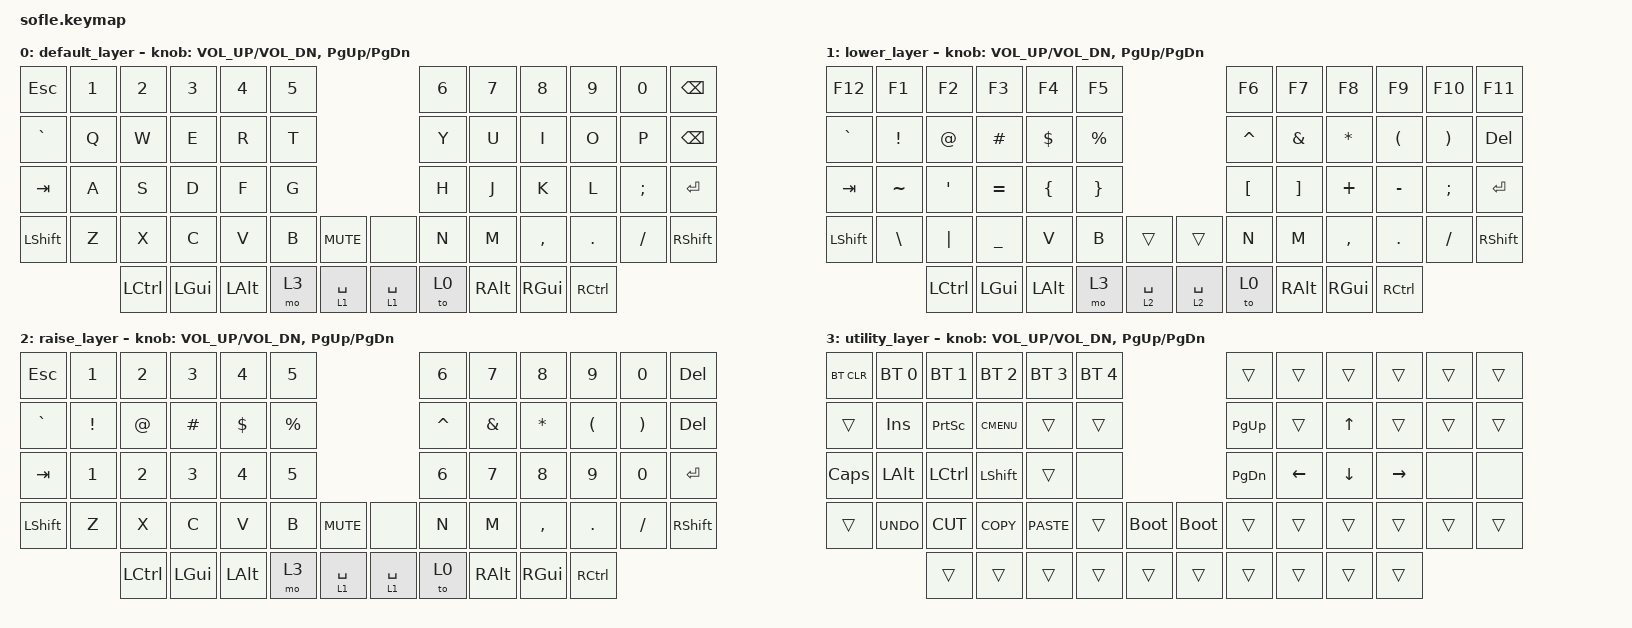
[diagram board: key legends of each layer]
/*
 * Copyright (c) 2020 The ZMK Contributors
 *
 * SPDX-License-Identifier: MIT
 */

#include <behaviors.dtsi>
#include <dt-bindings/zmk/keys.h>
#include <dt-bindings/zmk/bt.h>

&lt {
        tapping-term-ms = <150>;
        retro-tap;
    };

/ {
    chosen {
        zmk,underglow = &led_strip;
    };

    keymap {
        compatible = "zmk,keymap";

        default_layer {
// ------------------------------------------------------------------------------------------------------------
// |  ESC  |  1  |  2  |  3   |  4   |  5   |                   |  6   |  7    |  8    |  9   |   0   | BSPC |
// |   `   |  Q  |  W  |  E   |  R   |  T   |                   |  Y   |  U    |  I    |  O   |   P   | BSPC  |
// |  TAB  |  A  |  S  |  D   |  F   |  G   |                   |  H   |  J    |  K    |  L   |   ;   | ENTER  |
// | SHIFT |  Z  |  X  |  C   |  V   |  B   |  MUTE  |  |       |  N   |  M    |  ,    |  .   |   /   | SHIFT |
//               | CTRL| GUI  | ALT  | LOWER|  LOWER/SPACE |  | SPACE | RAISE| ALT   | GUI   | CTRL |
            bindings = <
&kp ESC     &kp N1   &kp N2     &kp N3     &kp N4      &kp N5                            &kp N6      &kp N7    &kp N8      &kp N9     &kp N0     &kp BSPC
&kp GRAVE   &kp Q    &kp W      &kp E      &kp R       &kp T                             &kp Y       &kp U     &kp I       &kp O      &kp P      &kp BSPC
&kp TAB     &kp A    &kp S      &kp D      &kp F       &kp G                             &kp H       &kp J     &kp K       &kp L      &kp SEMI   &kp RET
&kp LSHFT   &kp Z    &kp X      &kp C      &kp V       &kp B    &kp C_MUTE     &none     &kp N       &kp M     &kp COMMA   &kp DOT    &kp FSLH   &kp RSHFT
                     &kp LCTRL  &kp LGUI   &kp LALT    &mo 3    &lt 1 SPACE    &lt 1 SPACE &to 0     &kp RALT  &kp RGUI    &kp RCTRL
            >;

            sensor-bindings = <&inc_dec_kp C_VOL_UP C_VOL_DN &inc_dec_kp PG_UP PG_DN>;
        };

        lower_layer {
// TODO: Some binds are waiting for shifted keycode support.
// ------------------------------------------------------------------------------------------------------------
// |  F12  |  F1 |  F2 |  F3  |  F4  |  F5  |                   |  F6  |  F7   |  F8   |  F9  |  F10  |  F11  |
// | `     |   ! |   @ |  #   |   $  |   %  |                   |   ^  |  &    |   *   |  (   |   )   |  DEL  |
// |       |  ~  |  '  |  =   |  {   |  }   |                   |  [   |  ]    |   +   |  -   |   -   | ;     |
// |       |  \  |  |  |  _   |  v   |  b   |        |  |       |   n  |  m    |  ,    |  :   |   \   |       |
//               | CTRL| GUI  | ALT  | LOWER|  LOWER/SPACE |  | SPACE | RAISE| ALT   | GUI   | CTRL |
            bindings = <
&kp F12      &kp F1       &kp F2      &kp F3        &kp F4      &kp F5                                   &kp F6    &kp F7    &kp F8          &kp F9      &kp F10   &kp F11
&kp GRAVE    &kp EXCL     &kp AT      &kp HASH      &kp DLLR    &kp PRCNT                                &kp CARET &kp AMPS  &kp STAR        &kp LPAR    &kp RPAR  &kp DEL
&kp TAB      &kp TILDE    &kp SQT     &kp EQUAL     &kp LBRC    &kp RBRC                                 &kp LBKT  &kp RBKT  &kp PLUS        &kp MINUS   &kp SEMI  &kp RET
&kp LSHIFT   &kp BSLH     &kp PIPE    &kp UNDER     &kp V       &kp B       &trans         &trans        &kp N     &kp M     &kp COMMA       &kp DOT     &kp FSLH  &kp RSHFT
                          &kp LCTRL   &kp LGUI      &kp LALT    &mo 3       &lt 2 SPACE    &lt 2 SPACE   &to 0     &kp RALT  &kp RGUI        &kp RCTRL
            >;

            sensor-bindings = <&inc_dec_kp C_VOL_UP C_VOL_DN &inc_dec_kp PG_UP PG_DN>;
        };

        raise_layer {
// ------------------------------------------------------------------------------------------------------------
// |  ESC  |  1  |  2  |  3   |  4   |  5   |                   |  6   |  7    |  8    |  9   |   0   |  DEL  |
// | `     |   ! |   @ |  #   |   $  |   %  |                   |   ^  |  &    |   *   |  (   |   )   |  DEL  |
// |  TAB  |  1  |  2  |  3   |  4   |  5   |                   |  6   |  7    |  8    |  9   |   0   | ENTER |
// | SHIFT |  Z  |  X  |  C   |  V   |  B   |  MUTE   |  |      |  N   |  M    |  ,    |  .   |   /   | SHIFT |
//               | CTRL| GUI  | ALT  | LOWER|  LOWER/SPACE |  | SPACE | RAISE| ALT   | GUI   | CTRL |
            bindings = <
&kp ESC     &kp N1   &kp N2     &kp N3     &kp N4      &kp N5                                &kp N6   &kp N7      &kp N8      &kp N9     &kp N0     &kp DEL
&kp GRAVE   &kp EXCL &kp AT     &kp HASH   &kp DLLR    &kp PRCNT                             &kp CARET &kp AMPS   &kp STAR    &kp LPAR   &kp RPAR   &kp DEL
&kp TAB     &kp N1   &kp N2     &kp N3     &kp N4      &kp N5                                &kp N6   &kp N7      &kp N8      &kp N9     &kp N0     &kp RET
&kp LSHFT   &kp Z    &kp X      &kp C      &kp V       &kp B    &kp C_MUTE     &none         &kp N    &kp M       &kp COMMA   &kp DOT    &kp FSLH   &kp RSHFT
                     &kp LCTRL  &kp LGUI   &kp LALT    &mo 3    &lt 1 SPACE    &lt 1 SPACE   &to 0    &kp RALT    &kp RGUI    &kp RCTRL
            >;

            sensor-bindings = <&inc_dec_kp C_VOL_UP C_VOL_DN &inc_dec_kp PG_UP PG_DN>;
        };

        utility_layer {
            // ------------------------------------------------------------------------------------------------------------
// |BTCLR| BT1  | BT2  |  BT3  |  BT4  |  BT5 |                          |      |      |       |      |       |       |
// |     | INS  | PSCR | GUI   |       |      |                          | PGUP |      |   ^   |      |       |       |
// | CAPS| ALT  | CTRL | SHIFT |       |      |                          | PGDN |   <- |   v   |  ->  |       |       |
// |     | UNDO | CUT  | COPY  | PASTE |      | BOOTLOADER  | BOOTLOADER |      |      |       |      |       |       | 
//              |      |       |       |      |             |            |      |      |       |      |       |
            bindings = <   
&bt BT_CLR   &bt BT_SEL 0   &bt BT_SEL 1 &bt BT_SEL 2 &bt BT_SEL 3 &bt BT_SEL 4                                 &trans      &trans      &trans     &trans      &trans    &trans
&trans       &kp INS        &kp PSCRN      &kp K_CMENU    &trans         &trans                                 &kp PG_UP   &trans      &kp UP     &trans      &trans    &trans
&kp CLCK     &kp LALT       &kp LCTRL      &kp LSHFT      &trans         &none                                  &kp PG_DN   &kp LEFT    &kp DOWN   &kp RIGHT   &none     &none
&trans       &kp K_UNDO     &kp K_CUT      &kp K_COPY     &kp K_PASTE    &trans    &bootloader     &bootloader  &trans      &trans      &trans     &trans      &trans    &trans
                            &trans         &trans         &trans         &trans    &trans          &trans       &trans      &trans      &trans     &trans
            >;

            sensor-bindings = <&inc_dec_kp C_VOL_UP C_VOL_DN &inc_dec_kp PG_UP PG_DN>;
        };
    };
};
